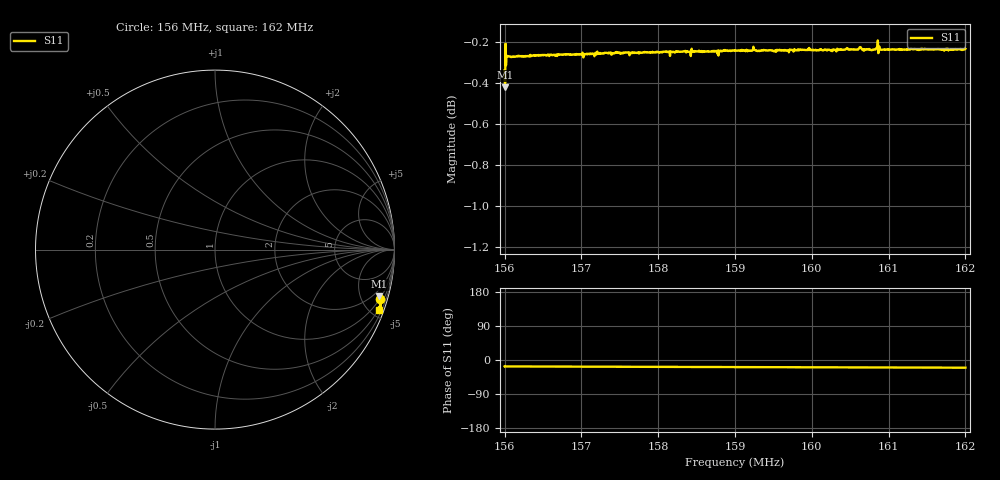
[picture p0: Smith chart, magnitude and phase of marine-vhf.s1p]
! Calibrated averaged scanner-service zoom
# Hz S RI R 50
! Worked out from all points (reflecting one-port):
!   1001 points, 156 MHz to 162 MHz, reference 50 ohm
!   lowest |S11| = -0.4 dB at 156.01 MHz (marker M1), VSWR 41.13, Z = 61.7 - j347 ohm
!   phase of S11 starts at -17 deg and turns -4 deg over the sweep
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1.56e8  0.9209 -0.277
1.56006e8  0.9161 -0.2609
1.56036e8  0.9271 -0.2828
1.56042e8  0.9271 -0.2832
1.56048e8  0.9269 -0.2831
1.56054e8  0.9269 -0.2832
1.5675e8  0.9257 -0.29
1.575e8  0.9243 -0.2973
1.5825e8  0.9229 -0.3047
1.5876e8  0.9216 -0.3092
1.58874e8  0.9215 -0.3103
1.59e8  0.9211 -0.3115
1.59252e8  0.9208 -0.3139
1.59306e8  0.92 -0.3139
1.5951e8  0.9194 -0.3159
1.5975e8  0.9192 -0.3181
1.60338e8  0.9176 -0.3231
1.605e8  0.9172 -0.3247
1.60578e8  0.9169 -0.3254
1.60632e8  0.9188 -0.324
1.60686e8  0.9163 -0.3259
1.608e8  0.9161 -0.3272
1.6083e8  0.9161 -0.3277
1.60878e8  0.9175 -0.3286
1.60896e8  0.9158 -0.328
1.6125e8  0.9153 -0.3308
1.61802e8  0.9132 -0.3354
1.62e8  0.913 -0.3373
